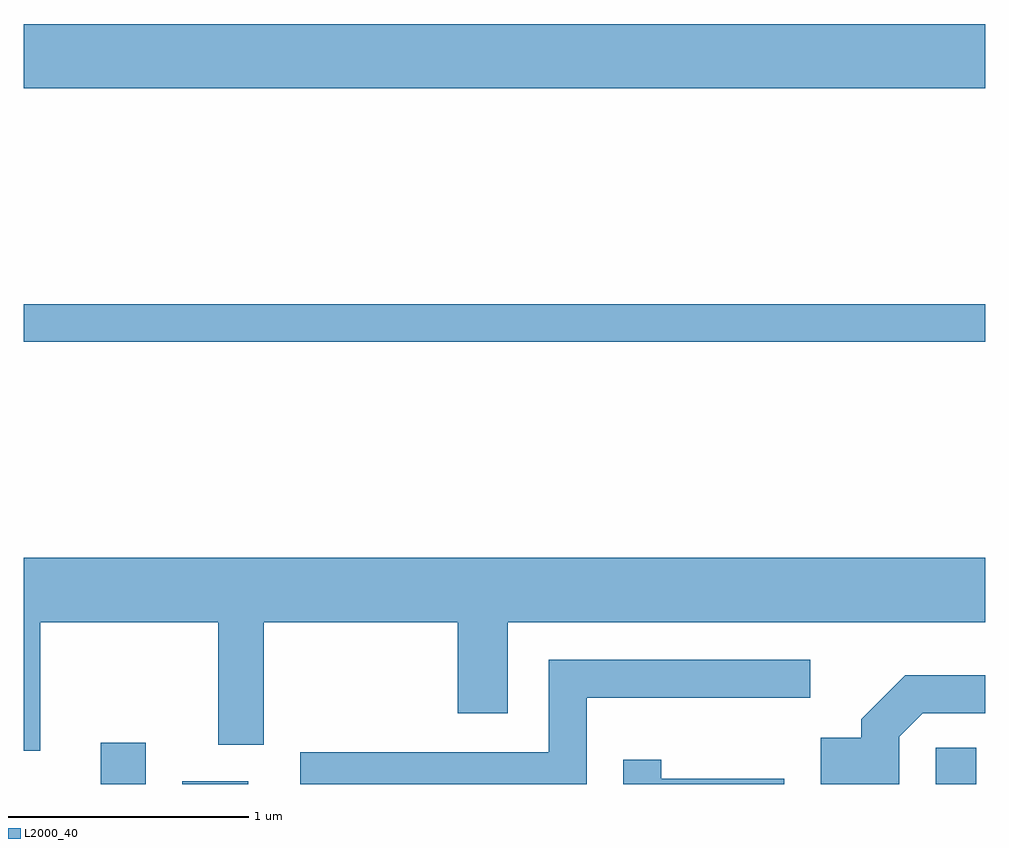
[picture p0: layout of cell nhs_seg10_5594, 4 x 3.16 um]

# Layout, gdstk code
import gdstk
lib = gdstk.Library(unit=1e-6, precision=1e-09)
def R(c, l, rs):  # rectangles x0, y0, x1, y1
    for r in rs: c.add(gdstk.rectangle(r[:2], r[2:], *l))
def P(c, l, *ps):  # polygons
    for p in ps: c.add(gdstk.Polygon(p, *l))
L2000_40 = (2000, 40)

nhs_seg10_5594 = lib.new_cell('nhs_seg10_5594')
R(nhs_seg10_5594, L2000_40, [(349.931,2166.522,350.119,2166.694), (350.271,2166.522,350.544,2166.534), (353.406,2166.522,353.574,2166.673), (349.611,2168.361,353.611,2168.519), (349.611,2169.416,353.611,2169.684)])
P(nhs_seg10_5594, L2000_40, [(349.679,2167.196),(350.421,2167.196),(350.421,2166.686),(350.609,2166.686),(350.609,2167.196),(351.416,2167.196),(351.416,2166.816),(351.624,2166.816),(351.624,2167.196),(353.611,2167.196),(353.611,2167.464),(349.611,2167.464),(349.611,2166.661),(349.679,2166.661)],
  [(351.954,2166.881),(352.883,2166.881),(352.883,2167.039),(351.796,2167.039),(351.796,2166.654),(350.761,2166.654),(350.761,2166.522),(351.954,2166.522)],
  [(353.254,2166.719),(353.352,2166.816),(353.611,2166.816),(353.611,2166.974),(353.279,2166.974),(353.096,2166.792),(353.096,2166.714),(352.926,2166.714),(352.926,2166.522),(353.254,2166.522)],
  [(352.774,2166.544),(352.264,2166.544),(352.264,2166.623),(352.106,2166.623),(352.106,2166.522),(352.774,2166.522)])

lib.write_gds('nhs_seg10_5594.gds')
